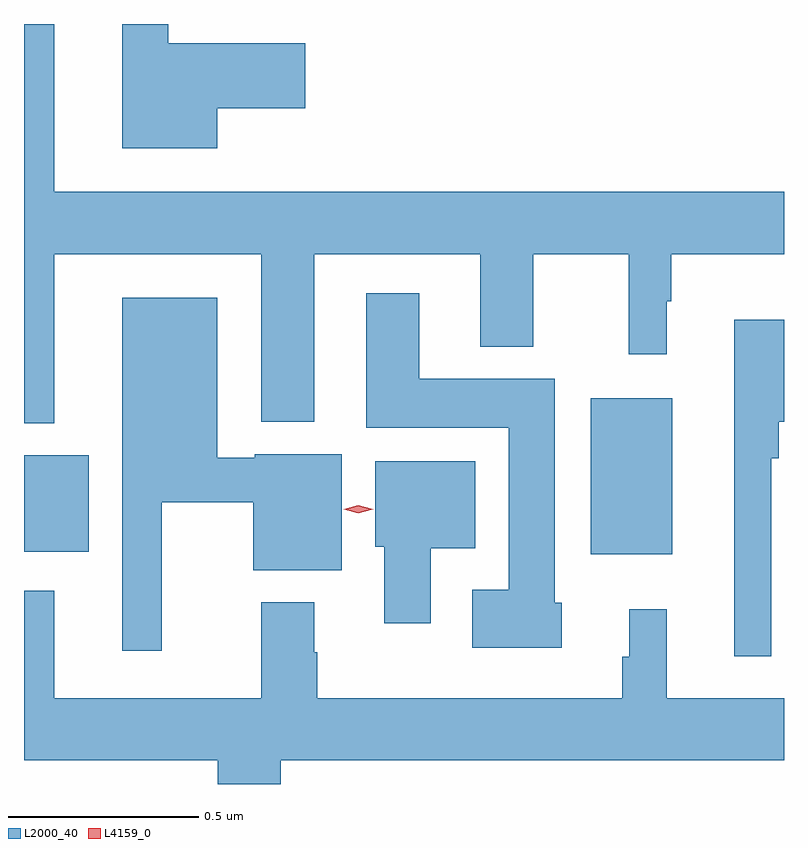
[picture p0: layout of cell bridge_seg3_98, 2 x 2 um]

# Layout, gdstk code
import gdstk
lib = gdstk.Library(unit=1e-6, precision=1e-09)
def R(c, l, rs):  # rectangles x0, y0, x1, y1
    for r in rs: c.add(gdstk.rectangle(r[:2], r[2:], *l))
def P(c, l, *ps):  # polygons
    for p in ps: c.add(gdstk.Polygon(p, *l))
L2000_40 = (2000, 40)
L4159_0 = (4159, 0)

bridge_seg3_98 = lib.new_cell('bridge_seg3_98')
R(bridge_seg3_98, L2000_40, [(493.028,732.095,493.243,732.505), (491.537,732.101,491.707,732.355)])
P(bridge_seg3_98, L2000_40, [(491.617,732.884),(492.161,732.884),(492.161,732.443),(492.301,732.443),(492.301,732.884),(492.737,732.884),(492.737,732.641),(492.877,732.641),(492.877,732.884),(493.129,732.884),(493.129,732.621),(493.228,732.621),(493.228,732.761),(493.24,732.761),(493.24,732.884),(493.537,732.884),(493.537,733.048),(491.617,733.048),(491.617,733.49),(491.537,733.49),(491.537,732.44),(491.617,732.44)],
  [(492.046,733.268),(492.277,733.268),(492.277,733.439),(491.917,733.439),(491.917,733.49),(491.795,733.49),(491.795,733.163),(492.046,733.163)],
  [(492.952,731.967),(492.934,731.967),(492.934,732.556),(492.577,732.556),(492.577,732.781),(492.437,732.781),(492.437,732.428),(492.812,732.428),(492.812,732.001),(492.717,732.001),(492.717,731.849),(492.952,731.849)],
  [(491.899,732.232),(492.14,732.232),(492.14,732.053),(492.373,732.053),(492.373,732.358),(492.144,732.358),(492.144,732.348),(492.046,732.348),(492.046,732.769),(491.795,732.769),(491.795,731.841),(491.899,731.841)],
  [(493.503,732.347),(493.523,732.347),(493.523,732.443),(493.537,732.443),(493.537,732.712),(493.406,732.712),(493.406,731.826),(493.503,731.826)],
  [(492.607,732.11),(492.724,732.11),(492.724,732.34),(492.461,732.34),(492.461,732.114),(492.485,732.114),(492.485,731.913),(492.607,731.913)],
  [(492.212,731.552),(493.537,731.552),(493.537,731.716),(493.229,731.716),(493.229,731.95),(493.13,731.95),(493.13,731.825),(493.111,731.825),(493.111,731.716),(492.309,731.716),(492.309,731.837),(492.301,731.837),(492.301,731.968),(492.161,731.968),(492.161,731.716),(491.617,731.716),(491.617,731.998),(491.537,731.998),(491.537,731.552),(492.047,731.552),(492.047,731.49),(492.212,731.49)])
P(bridge_seg3_98, L4159_0, [(492.417,732.203),(492.379,732.213),(492.378,732.213),(492.379,732.213),(492.417,732.223),(492.456,732.213),(492.456,732.213),(492.456,732.213)])

lib.write_gds('bridge_seg3_98.gds')
